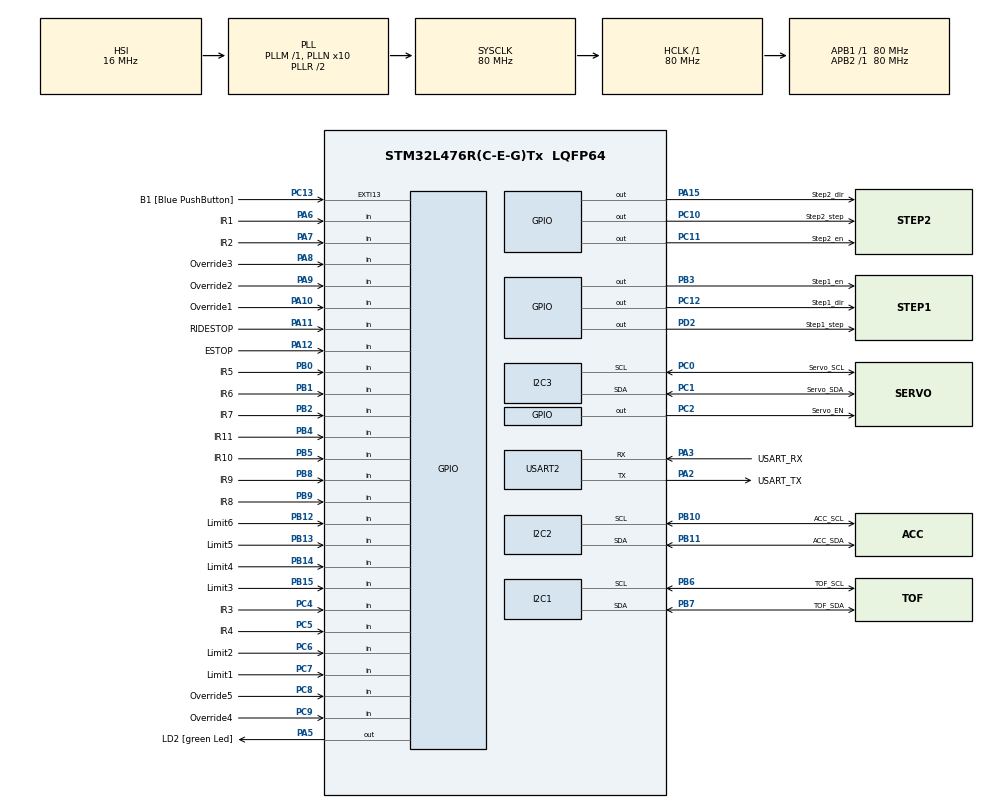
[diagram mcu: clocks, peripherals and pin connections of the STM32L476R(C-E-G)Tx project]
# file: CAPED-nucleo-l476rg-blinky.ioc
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FREERTOS.Tasks01=defaultTask,24,128,StartDefaultTask,Default,NULL,Dynamic,NULL,NULL;TowerTransition,24,128,StartTowerTransition,Default,NULL,Dynamic,NULL,NULL;QueueToTop,24,128,StartQueueToTop,Default,NULL,Dynamic,NULL,NULL;ActuationDrop,24,128,StartActuationDrop,Default,NULL,Dynamic,NULL,NULL;WaitForQueue,8,128,StartWaitForQueue,Default,NULL,Dynamic,NULL,NULL;DropTransition,8,128,StartDropTransition,Default,NULL,Dynamic,NULL,NULL
FREERTOS.configUSE_NEWLIB_REENTRANT=1
I2C1.Timing=0x10909CEC
I2C2.Timing=0x10909CEC
I2C3.Timing=0x10909CEC
Mcu.Family=STM32L4
Mcu.Name=STM32L476R(C-E-G)Tx
Mcu.Package=LQFP64
NVIC.PriorityGroup=NVIC_PRIORITYGROUP_4
NVIC.TIM6_DAC_IRQn=true\:15\:0\:false\:false\:true\:false\:false\:true\:true
NVIC.TimeBase=TIM6_DAC_IRQn
NVIC.TimeBaseIP=TIM6
PA10.GPIO_Label=Override1
PA10.Signal=GPIO_Input
PA11.GPIO_Label=RIDESTOP
PA11.Signal=GPIO_Input
PA12.GPIO_Label=ESTOP
PA12.Signal=GPIO_Input
PA13\ (JTMS-SWDIO).GPIO_Label=TMS
PA13\ (JTMS-SWDIO).Mode=Serial_Wire
PA13\ (JTMS-SWDIO).Signal=SYS_JTMS-SWDIO
PA14\ (JTCK-SWCLK).GPIO_Label=TCK
PA14\ (JTCK-SWCLK).Mode=Serial_Wire
PA14\ (JTCK-SWCLK).Signal=SYS_JTCK-SWCLK
PA15\ (JTDI).GPIO_Label=Step2_dir
PA15\ (JTDI).Signal=GPIO_Output
PA2.GPIO_Label=USART_TX
PA2.GPIO_Mode=GPIO_MODE_AF_PP
PA2.GPIO_PuPd=GPIO_NOPULL
PA2.GPIO_Speed=GPIO_SPEED_FREQ_VERY_HIGH
PA2.Mode=Asynchronous
PA2.Signal=USART2_TX
PA3.GPIO_Label=USART_RX
PA3.GPIO_Mode=GPIO_MODE_AF_PP
PA3.GPIO_PuPd=GPIO_NOPULL
PA3.GPIO_Speed=GPIO_SPEED_FREQ_VERY_HIGH
PA3.Mode=Asynchronous
PA3.Signal=USART2_RX
PA5.GPIO_Label=LD2 [green Led]
PA5.GPIO_ModeDefaultOutputPP=GPIO_MODE_OUTPUT_PP
PA5.GPIO_PuPd=GPIO_NOPULL
PA5.GPIO_Speed=GPIO_SPEED_FREQ_LOW
PA5.Signal=GPIO_Output
PA6.GPIO_Label=IR1
PA6.Signal=GPIO_Input
PA7.GPIO_Label=IR2
PA7.Signal=GPIO_Input
PA8.GPIO_Label=Override3
PA8.Signal=GPIO_Input
PA9.GPIO_Label=Override2
PA9.Signal=GPIO_Input
PB0.GPIO_Label=IR5
PB0.Signal=GPIO_Input
PB1.GPIO_Label=IR6
PB1.Signal=GPIO_Input
PB10.GPIO_Label=ACC_SCL
PB10.Mode=I2C
PB10.Signal=I2C2_SCL
PB11.GPIO_Label=ACC_SDA
PB11.Mode=I2C
PB11.Signal=I2C2_SDA
PB12.GPIO_Label=Limit6
PB12.Signal=GPIO_Input
PB13.GPIO_Label=Limit5
PB13.Signal=GPIO_Input
PB14.GPIO_Label=Limit4
PB14.Signal=GPIO_Input
PB15.GPIO_Label=Limit3
PB15.Signal=GPIO_Input
PB2.GPIO_Label=IR7
PB2.Signal=GPIO_Input
PB3\ (JTDO-TRACESWO).GPIO_Label=Step1_en
PB3\ (JTDO-TRACESWO).Signal=GPIO_Output
PB4\ (NJTRST).GPIO_Label=IR11
PB4\ (NJTRST).Signal=GPIO_Input
PB5.GPIO_Label=IR10
PB5.Signal=GPIO_Input
PB6.GPIO_Label=TOF_SCL
PB6.Mode=I2C
PB6.Signal=I2C1_SCL
PB7.GPIO_Label=TOF_SDA
PB7.Mode=I2C
PB7.Signal=I2C1_SDA
PB8.GPIO_Label=IR9
PB8.Signal=GPIO_Input
PB9.GPIO_Label=IR8
PB9.Signal=GPIO_Input
PC0.GPIO_Label=Servo_SCL
PC0.Mode=I2C
PC0.Signal=I2C3_SCL
PC1.GPIO_Label=Servo_SDA
PC1.Mode=I2C
PC1.Signal=I2C3_SDA
PC10.GPIO_Label=Step2_step
PC10.Signal=GPIO_Output
PC11.GPIO_Label=Step2_en
PC11.Signal=GPIO_Output
PC12.GPIO_Label=Step1_dir
PC12.Signal=GPIO_Output
PC13.GPIO_Label=B1 [Blue PushButton]
PC13.GPIO_ModeDefaultEXTI=GPIO_MODE_IT_FALLING
PC13.GPIO_PuPd=GPIO_NOPULL
PC13.Signal=GPXTI13
PC14-OSC32_IN\ (PC14).Mode=LSE-External-Oscillator
PC14-OSC32_IN\ (PC14).Signal=RCC_OSC32_IN
PC15-OSC32_OUT\ (PC15).Mode=LSE-External-Oscillator
PC15-OSC32_OUT\ (PC15).Signal=RCC_OSC32_OUT
PC2.GPIO_Label=Servo_EN
PC2.Signal=GPIO_Output
PC4.GPIO_Label=IR3
PC4.Signal=GPIO_Input
PC5.GPIO_Label=IR4
PC5.Signal=GPIO_Input
PC6.GPIO_Label=Limit2
PC6.Signal=GPIO_Input
PC7.GPIO_Label=Limit1
PC7.Signal=GPIO_Input
PC8.GPIO_Label=Override5
PC8.Signal=GPIO_Input
PC9.GPIO_Label=Override4
PC9.Signal=GPIO_Input
PD2.GPIO_Label=Step1_step
PD2.Signal=GPIO_Output
PH0-OSC_IN\ (PH0).Signal=RCC_OSC_IN
PH1-OSC_OUT\ (PH1).Signal=RCC_OSC_OUT
ProjectManager.HeapSize=0x200
ProjectManager.StackSize=0x400
ProjectManager.TargetToolchain=STM32CubeIDE
RCC.ADCFreq_Value=64000000
RCC.AHBFreq_Value=80000000
RCC.APB1Freq_Value=80000000
RCC.APB1TimFreq_Value=80000000
RCC.APB2Freq_Value=80000000
RCC.APB2TimFreq_Value=80000000
RCC.CortexFreq_Value=80000000
RCC.HCLKFreq_Value=80000000
RCC.HSE_VALUE=8000000
RCC.HSI_VALUE=16000000
RCC.MSI_VALUE=4000000
RCC.PLLN=10
RCC.PLLSourceVirtual=RCC_PLLSOURCE_HSI
RCC.PREFETCH_ENABLE=1
RCC.SYSCLKFreq_VALUE=80000000
RCC.SYSCLKSource=RCC_SYSCLKSOURCE_PLLCLK
RCC.USBFreq_Value=64000000
RCC.VCOOutputFreq_Value=160000000
USART2.VirtualMode-Asynchronous=VM_ASYNC
VP_FREERTOS_VS_CMSIS_V2.Mode=CMSIS_V2
VP_SYS_VS_tim6.Mode=TIM6
board=NUCLEO-L476RG

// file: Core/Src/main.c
/* USER CODE BEGIN Header */
/**
  ******************************************************************************
  * @file           : main.c
  * @brief          : Main program body
  ******************************************************************************
  * @attention
  *
  * Copyright (c) 2022 STMicroelectronics.
  * All rights reserved.
  *
  * This software is licensed under terms that can be found in the LICENSE file
  * in the root directory of this software component.
  * If no LICENSE file comes with this software, it is provided AS-IS.
  *
  ******************************************************************************
  */
/* USER CODE END Header */
#include "main.h"
#include "cmsis_os.h"

I2C_HandleTypeDef hi2c1;
I2C_HandleTypeDef hi2c2;
I2C_HandleTypeDef hi2c3;

UART_HandleTypeDef huart2;

/* Definitions for defaultTask */
osThreadId_t defaultTaskHandle;
const osThreadAttr_t defaultTask_attributes = {
  .name = "defaultTask",
  .stack_size = 128 * 4,
  .priority = (osPriority_t) osPriorityNormal,
};
/* Definitions for TowerTransition */
osThreadId_t TowerTransitionHandle;
const osThreadAttr_t TowerTransition_attributes = {
  .name = "TowerTransition",
  .stack_size = 128 * 4,
  .priority = (osPriority_t) osPriorityNormal,
};
/* Definitions for QueueToTop */
osThreadId_t QueueToTopHandle;
const osThreadAttr_t QueueToTop_attributes = {
  .name = "QueueToTop",
  .stack_size = 128 * 4,
  .priority = (osPriority_t) osPriorityNormal,
};
/* Definitions for ActuationDrop */
osThreadId_t ActuationDropHandle;
const osThreadAttr_t ActuationDrop_attributes = {
  .name = "ActuationDrop",
  .stack_size = 128 * 4,
  .priority = (osPriority_t) osPriorityNormal,
};
/* Definitions for WaitForQueue */
osThreadId_t WaitForQueueHandle;
const osThreadAttr_t WaitForQueue_attributes = {
  .name = "WaitForQueue",
  .stack_size = 128 * 4,
  .priority = (osPriority_t) osPriorityLow,
};
/* Definitions for DropTransition */
osThreadId_t DropTransitionHandle;
const osThreadAttr_t DropTransition_attributes = {
  .name = "DropTransition",
  .stack_size = 128 * 4,
  .priority = (osPriority_t) osPriorityLow,
};

void SystemClock_Config(void);
static void MX_GPIO_Init(void);
static void MX_USART2_UART_Init(void);
static void MX_I2C1_Init(void);
static void MX_I2C2_Init(void);
static void MX_I2C3_Init(void);
void StartDefaultTask(void *argument);
void StartTowerTransition(void *argument);
void StartQueueToTop(void *argument);
void StartActuationDrop(void *argument);
void StartWaitForQueue(void *argument);
void StartDropTransition(void *argument);

/* USER CODE BEGIN 0 */
void unlockCabinServo(int i){
	if(i == 1){
		//TODO move mapped servo for lift tower
	}
	else{
		//TODO move mapped servo for drop tower
	}
}

void lockCabinServo(int i){
	if(i == 1){
		//TODO move mapped servo for lift tower
	}
	else{
		//TODO move mapped servo for drop tower
	}
}
/* USER CODE END 0 */

int main(void)
{

  /* MCU Configuration--------------------------------------------------------*/

  /* Reset of all peripherals, Initializes the Flash interface and the Systick. */
  HAL_Init();

  /* Configure the system clock */
  SystemClock_Config();

  /* Initialize all configured peripherals */
  MX_GPIO_Init();
  MX_USART2_UART_Init();
  MX_I2C1_Init();
  MX_I2C2_Init();
  MX_I2C3_Init();

  /* Init scheduler */
  osKernelInitialize();

  /* Create the thread(s) */
  /* creation of defaultTask */
  defaultTaskHandle = osThreadNew(StartDefaultTask, NULL, &defaultTask_attributes);

  /* creation of TowerTransition */
  TowerTransitionHandle = osThreadNew(StartTowerTransition, NULL, &TowerTransition_attributes);

  /* creation of QueueToTop */
  QueueToTopHandle = osThreadNew(StartQueueToTop, NULL, &QueueToTop_attributes);

  /* creation of ActuationDrop */
  ActuationDropHandle = osThreadNew(StartActuationDrop, NULL, &ActuationDrop_attributes);

  /* creation of WaitForQueue */
  WaitForQueueHandle = osThreadNew(StartWaitForQueue, NULL, &WaitForQueue_attributes);

  /* creation of DropTransition */
  DropTransitionHandle = osThreadNew(StartDropTransition, NULL, &DropTransition_attributes);

  /* Start scheduler */
  osKernelStart();

  /* We should never get here as control is now taken by the scheduler */
  /* Infinite loop */
  while (1)
  {

  }
}

void SystemClock_Config(void)
{
  RCC_OscInitTypeDef RCC_OscInitStruct = {0};
  RCC_ClkInitTypeDef RCC_ClkInitStruct = {0};

  /** Configure the main internal regulator output voltage
  */
  if (HAL_PWREx_ControlVoltageScaling(PWR_REGULATOR_VOLTAGE_SCALE1) != HAL_OK)
  {
    Error_Handler();
  }
  /** Initializes the RCC Oscillators according to the specified parameters
  * in the RCC_OscInitTypeDef structure.
  */
  RCC_OscInitStruct.OscillatorType = RCC_OSCILLATORTYPE_HSI;
  RCC_OscInitStruct.HSIState = RCC_HSI_ON;
  RCC_OscInitStruct.HSICalibrationValue = RCC_HSICALIBRATION_DEFAULT;
  RCC_OscInitStruct.PLL.PLLState = RCC_PLL_ON;
  RCC_OscInitStruct.PLL.PLLSource = RCC_PLLSOURCE_HSI;
  RCC_OscInitStruct.PLL.PLLM = 1;
  RCC_OscInitStruct.PLL.PLLN = 10;
  RCC_OscInitStruct.PLL.PLLP = RCC_PLLP_DIV7;
  RCC_OscInitStruct.PLL.PLLQ = RCC_PLLQ_DIV2;
  RCC_OscInitStruct.PLL.PLLR = RCC_PLLR_DIV2;
  if (HAL_RCC_OscConfig(&RCC_OscInitStruct) != HAL_OK)
  {
    Error_Handler();
  }
  /** Initializes the CPU, AHB and APB buses clocks
  */
  RCC_ClkInitStruct.ClockType = RCC_CLOCKTYPE_HCLK|RCC_CLOCKTYPE_SYSCLK
                              |RCC_CLOCKTYPE_PCLK1|RCC_CLOCKTYPE_PCLK2;
  RCC_ClkInitStruct.SYSCLKSource = RCC_SYSCLKSOURCE_PLLCLK;
  RCC_ClkInitStruct.AHBCLKDivider = RCC_SYSCLK_DIV1;
  RCC_ClkInitStruct.APB1CLKDivider = RCC_HCLK_DIV1;
  RCC_ClkInitStruct.APB2CLKDivider = RCC_HCLK_DIV1;

  if (HAL_RCC_ClockConfig(&RCC_ClkInitStruct, FLASH_LATENCY_4) != HAL_OK)
  {
    Error_Handler();
  }
}

static void MX_I2C1_Init(void)
{

  hi2c1.Instance = I2C1;
  hi2c1.Init.Timing = 0x10909CEC;
  hi2c1.Init.OwnAddress1 = 0;
  hi2c1.Init.AddressingMode = I2C_ADDRESSINGMODE_7BIT;
  hi2c1.Init.DualAddressMode = I2C_DUALADDRESS_DISABLE;
  hi2c1.Init.OwnAddress2 = 0;
  hi2c1.Init.OwnAddress2Masks = I2C_OA2_NOMASK;
  hi2c1.Init.GeneralCallMode = I2C_GENERALCALL_DISABLE;
  hi2c1.Init.NoStretchMode = I2C_NOSTRETCH_DISABLE;
  if (HAL_I2C_Init(&hi2c1) != HAL_OK)
  {
    Error_Handler();
  }
  /** Configure Analogue filter
  */
  if (HAL_I2CEx_ConfigAnalogFilter(&hi2c1, I2C_ANALOGFILTER_ENABLE) != HAL_OK)
  {
    Error_Handler();
  }
  /** Configure Digital filter
  */
  if (HAL_I2CEx_ConfigDigitalFilter(&hi2c1, 0) != HAL_OK)
  {
    Error_Handler();
  }

}

static void MX_I2C2_Init(void)
{

  hi2c2.Instance = I2C2;
  hi2c2.Init.Timing = 0x10909CEC;
  hi2c2.Init.OwnAddress1 = 0;
  hi2c2.Init.AddressingMode = I2C_ADDRESSINGMODE_7BIT;
  hi2c2.Init.DualAddressMode = I2C_DUALADDRESS_DISABLE;
  hi2c2.Init.OwnAddress2 = 0;
  hi2c2.Init.OwnAddress2Masks = I2C_OA2_NOMASK;
  hi2c2.Init.GeneralCallMode = I2C_GENERALCALL_DISABLE;
  hi2c2.Init.NoStretchMode = I2C_NOSTRETCH_DISABLE;
  if (HAL_I2C_Init(&hi2c2) != HAL_OK)
  {
    Error_Handler();
  }
  /** Configure Analogue filter
  */
  if (HAL_I2CEx_ConfigAnalogFilter(&hi2c2, I2C_ANALOGFILTER_ENABLE) != HAL_OK)
  {
    Error_Handler();
  }
  /** Configure Digital filter
  */
  if (HAL_I2CEx_ConfigDigitalFilter(&hi2c2, 0) != HAL_OK)
  {
    Error_Handler();
  }

}

static void MX_I2C3_Init(void)
{

  hi2c3.Instance = I2C3;
  hi2c3.Init.Timing = 0x10909CEC;
  hi2c3.Init.OwnAddress1 = 0;
  hi2c3.Init.AddressingMode = I2C_ADDRESSINGMODE_7BIT;
  hi2c3.Init.DualAddressMode = I2C_DUALADDRESS_DISABLE;
  hi2c3.Init.OwnAddress2 = 0;
  hi2c3.Init.OwnAddress2Masks = I2C_OA2_NOMASK;
  hi2c3.Init.GeneralCallMode = I2C_GENERALCALL_DISABLE;
  hi2c3.Init.NoStretchMode = I2C_NOSTRETCH_DISABLE;
  if (HAL_I2C_Init(&hi2c3) != HAL_OK)
  {
    Error_Handler();
  }
  /** Configure Analogue filter
  */
  if (HAL_I2CEx_ConfigAnalogFilter(&hi2c3, I2C_ANALOGFILTER_ENABLE) != HAL_OK)
  {
    Error_Handler();
  }
  /** Configure Digital filter
  */
  if (HAL_I2CEx_ConfigDigitalFilter(&hi2c3, 0) != HAL_OK)
  {
    Error_Handler();
  }

}

static void MX_USART2_UART_Init(void)
{

  huart2.Instance = USART2;
  huart2.Init.BaudRate = 115200;
  huart2.Init.WordLength = UART_WORDLENGTH_8B;
  huart2.Init.StopBits = UART_STOPBITS_1;
  huart2.Init.Parity = UART_PARITY_NONE;
  huart2.Init.Mode = UART_MODE_TX_RX;
  huart2.Init.HwFlowCtl = UART_HWCONTROL_NONE;
  huart2.Init.OverSampling = UART_OVERSAMPLING_16;
  huart2.Init.OneBitSampling = UART_ONE_BIT_SAMPLE_DISABLE;
  huart2.AdvancedInit.AdvFeatureInit = UART_ADVFEATURE_NO_INIT;
  if (HAL_UART_Init(&huart2) != HAL_OK)
  {
    Error_Handler();
  }

}

static void MX_GPIO_Init(void)
{
  GPIO_InitTypeDef GPIO_InitStruct = {0};

  /* GPIO Ports Clock Enable */
  __HAL_RCC_GPIOC_CLK_ENABLE();
  __HAL_RCC_GPIOH_CLK_ENABLE();
  __HAL_RCC_GPIOA_CLK_ENABLE();
  __HAL_RCC_GPIOB_CLK_ENABLE();
  __HAL_RCC_GPIOD_CLK_ENABLE();

  /*Configure GPIO pin Output Level */
  HAL_GPIO_WritePin(GPIOC, Servo_EN_Pin|Step2_step_Pin|Step2_en_Pin|Step1_dir_Pin, GPIO_PIN_RESET);

  /*Configure GPIO pin Output Level */
  HAL_GPIO_WritePin(GPIOA, LD2_Pin|Step2_dir_Pin, GPIO_PIN_RESET);

  /*Configure GPIO pin Output Level */
  HAL_GPIO_WritePin(Step1_step_GPIO_Port, Step1_step_Pin, GPIO_PIN_RESET);

  /*Configure GPIO pin Output Level */
  HAL_GPIO_WritePin(Step1_en_GPIO_Port, Step1_en_Pin, GPIO_PIN_RESET);

  /*Configure GPIO pin : B1_Pin */
  GPIO_InitStruct.Pin = B1_Pin;
  GPIO_InitStruct.Mode = GPIO_MODE_IT_FALLING;
  GPIO_InitStruct.Pull = GPIO_NOPULL;
  HAL_GPIO_Init(B1_GPIO_Port, &GPIO_InitStruct);

  /*Configure GPIO pins : Servo_EN_Pin Step2_step_Pin Step2_en_Pin Step1_dir_Pin */
  GPIO_InitStruct.Pin = Servo_EN_Pin|Step2_step_Pin|Step2_en_Pin|Step1_dir_Pin;
  GPIO_InitStruct.Mode = GPIO_MODE_OUTPUT_PP;
  GPIO_InitStruct.Pull = GPIO_NOPULL;
  GPIO_InitStruct.Speed = GPIO_SPEED_FREQ_LOW;
  HAL_GPIO_Init(GPIOC, &GPIO_InitStruct);

  /*Configure GPIO pins : LD2_Pin Step2_dir_Pin */
  GPIO_InitStruct.Pin = LD2_Pin|Step2_dir_Pin;
  GPIO_InitStruct.Mode = GPIO_MODE_OUTPUT_PP;
  GPIO_InitStruct.Pull = GPIO_NOPULL;
  GPIO_InitStruct.Speed = GPIO_SPEED_FREQ_LOW;
  HAL_GPIO_Init(GPIOA, &GPIO_InitStruct);

  /*Configure GPIO pins : IR1_Pin IR2_Pin Override3_Pin Override2_Pin
                           Override1_Pin RIDESTOP_Pin ESTOP_Pin */
  GPIO_InitStruct.Pin = IR1_Pin|IR2_Pin|Override3_Pin|Override2_Pin
                          |Override1_Pin|RIDESTOP_Pin|ESTOP_Pin;
  GPIO_InitStruct.Mode = GPIO_MODE_INPUT;
  GPIO_InitStruct.Pull = GPIO_NOPULL;
  HAL_GPIO_Init(GPIOA, &GPIO_InitStruct);

  /*Configure GPIO pins : IR3_Pin IR4_Pin Limit2_Pin Limit1_Pin
                           Override5_Pin Override4_Pin */
  GPIO_InitStruct.Pin = IR3_Pin|IR4_Pin|Limit2_Pin|Limit1_Pin
                          |Override5_Pin|Override4_Pin;
  GPIO_InitStruct.Mode = GPIO_MODE_INPUT;
  GPIO_InitStruct.Pull = GPIO_NOPULL;
  HAL_GPIO_Init(GPIOC, &GPIO_InitStruct);

  /*Configure GPIO pins : IR5_Pin IR6_Pin IR7_Pin Limit6_Pin
                           Limit5_Pin Limit4_Pin Limit3_Pin IR11_Pin
                           IR10_Pin IR9_Pin IR8_Pin */
  GPIO_InitStruct.Pin = IR5_Pin|IR6_Pin|IR7_Pin|Limit6_Pin
                          |Limit5_Pin|Limit4_Pin|Limit3_Pin|IR11_Pin
                          |IR10_Pin|IR9_Pin|IR8_Pin;
  GPIO_InitStruct.Mode = GPIO_MODE_INPUT;
  GPIO_InitStruct.Pull = GPIO_NOPULL;
  HAL_GPIO_Init(GPIOB, &GPIO_InitStruct);

  /*Configure GPIO pin : Step1_step_Pin */
  GPIO_InitStruct.Pin = Step1_step_Pin;
  GPIO_InitStruct.Mode = GPIO_MODE_OUTPUT_PP;
  GPIO_InitStruct.Pull = GPIO_NOPULL;
  GPIO_InitStruct.Speed = GPIO_SPEED_FREQ_LOW;
  HAL_GPIO_Init(Step1_step_GPIO_Port, &GPIO_InitStruct);

  /*Configure GPIO pin : Step1_en_Pin */
  GPIO_InitStruct.Pin = Step1_en_Pin;
  GPIO_InitStruct.Mode = GPIO_MODE_OUTPUT_PP;
  GPIO_InitStruct.Pull = GPIO_NOPULL;
  GPIO_InitStruct.Speed = GPIO_SPEED_FREQ_LOW;
  HAL_GPIO_Init(Step1_en_GPIO_Port, &GPIO_InitStruct);

}

void StartDefaultTask(void *argument)
{
  for(;;)
  {
    osDelay(1);
  }
}

void StartTowerTransition(void *argument)
{
  /* USER CODE BEGIN StartTowerTransition */
  /* Infinite loop */
  for(;;)
  {
	  /* If:
	  	 * - The LIFT tower top IR receiver is triggered by the cabin IR emitter (IR4 - PC5) AND
	  	 * - The top LIFT tower limit switch is activated (Limit1 - PC7) AND
	  	 * - The DROP tower top IR receiver is triggered by the cabin IR emitter (IR5 - PB0) AND
	  	 * - The top DROP tower limit switches is activated (Limit2 - PC6)
	  	 */
	  	if (HAL_GPIO_ReadPin(GPIOC, GPIO_PIN_5) && HAL_GPIO_ReadPin(GPIOC, GPIO_PIN_7) && HAL_GPIO_ReadPin(GPIOB, GPIO_PIN_0) && HAL_GPIO_ReadPin(GPIOC, GPIO_PIN_6)) {
	  		// First, unlock the cabin servo holding the RV

	  		unlockCabinServo(1);

	        //TODO: I2C communication to mapped servo.

	  		// Wait a 1/2 second for the servo to unlock, then drive the stepper motor (STEPPER1_EN - PB3)
	  		osDelay(500);
	  		HAL_GPIO_WritePin(GPIOB, GPIO_PIN_3, GPIO_PIN_SET);
	  	}
  }
  /* USER CODE END StartTowerTransition */
}

void StartQueueToTop(void *argument)
{
  /* USER CODE BEGIN StartQueueToTop */
  /* Infinite loop */
  for(;;)
  {
    /*
     * Queue IR osDelay, input TOF, Cabin IR, bottom limit switch,
     * outputs of drive motors and brakes into tower, servo to lock,
     * and stepper, serial monitor
     */

	 //if something in queue
	 if(HAL_GPIO_ReadPin(GPIOC, IR1)){

		 //wait to load
		 osDelay(10000);

		 //if cabin at the bottom
		 if(HAL_GPIO_ReadPin(GPIOC, IR2) && HAL_GPIO_ReadPin(GPIOC, IR3)){
			 //TODO drive servos

			 //TODO set brakes based on TOF

			 //TODO drive lock servo
			 lockCabinServo(1);

			 // Wait a 1/2 second for the servo to unlock, then drive the stepper motor (STEPPER2_EN)
			 osDelay(500);
			 HAL_GPIO_WritePin(GPIOB, Step2_EN, GPIO_PIN_SET);
		 }

	 }

  }
  /* USER CODE END StartQueueToTop */
}

void StartActuationDrop(void *argument)
{
  /* USER CODE BEGIN StartActuationDrop */
  /* Infinite loop */
  for(;;)
  {
	 //if drop complete, and at the top, amd wait clear
    if(drop1Complete && HAL_GPIO_ReadPin(GPIOC, Limit4) && HAL_GPIO_ReadPin(GPIOC, IR11)){
    	//TODO actuation servo

    	//if actuated and still wait clear
    	if(HAL_GPIO_ReadPin(GPIOC, Limit6) && HAL_GPIO_ReadPin(GPIOC, IR11)){
    		//drop
    		HAL_GPIO_WritePin(GPIOB, Step1_EN, GPIO_PIN_SET);
    		drop1Complete = true;
    	}
    }
  }
  /* USER CODE END StartActuationDrop */
}

void StartWaitForQueue(void *argument)
{
  /* USER CODE BEGIN StartWaitForQueue */
  /* Infinite loop */
  for(;;)
  {
	  /* For the Wait For Queue Task, we need to check:
	   *  if the the pre-brake IR sensor is ON (IR8 - PB9)
	   * Then, we need to:
	   *  open the brakes ( TODO: Set Brake Servos )
	   */
	  if(HAL_GPIO_ReadPin(GPIOB, GPIO_PIN_8)){
		  // Unlock Servo that brakes/clamps onto the ride vehicle
		  HAL_GPIO_WritePin(GPIOC, GPIO_PIN_2,GPIO_PIN_SET);

	//TODO: I2C communication to mapped servo.

	  }
	  osDelay(1);
  }
  /* USER CODE END StartWaitForQueue */
}

void StartDropTransition(void *argument)
{
  /* USER CODE BEGIN StartDropTransition */
  /* Infinite loop */
  for(;;)
  {
	  /* For the Drop Transition Task, we need to check:
	   *  if the two bottom limit switches are ON (Limit5 - PB13, Limit6 - PB12)
	   *  if the IR sensor on the track is ON (IR7 - PB2)
	   *  if the actuation limit switch is ON (Limit4 - PB14)
	   * Then, we need to:
	   *  Unlock the servo motor to drop the ride vehicle to the Drop to Queue ()
	   * NOTES: when I say ON, I mean in their active position
	   */
	  if(HAL_GPIO_ReadPin(GPIOB, GPIO_PIN_13) && HAL_GPIO_ReadPin(GPIOB, GPIO_PIN_12) && HAL_GPIO_ReadPin(GPIOB, GPIO_PIN_14) && HAL_GPIO_ReadPin(GPIOB, GPIO_PIN_2)){
		  // Unlock Servo that holds in the ride vehicle
		  HAL_GPIO_WritePin(GPIOC, GPIO_PIN_2,GPIO_PIN_SET);
		  // We only close the Servo once we complete the next step

	//TODO: I2C communication to mapped servo.

	  }
	  osDelay(1);
  }
  /* USER CODE END StartDropTransition */
}

void HAL_TIM_PeriodElapsedCallback(TIM_HandleTypeDef *htim)
{
  if (htim->Instance == TIM6) {
    HAL_IncTick();
  }
}

void Error_Handler(void)
{
  __disable_irq();
  while (1)
  {
  }
}

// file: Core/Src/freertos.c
/* USER CODE BEGIN Header */
/**
  ******************************************************************************
  * File Name          : freertos.c
  * Description        : Code for freertos applications
  ******************************************************************************
  * @attention
  *
  * Copyright (c) 2022 STMicroelectronics.
  * All rights reserved.
  *
  * This software is licensed under terms that can be found in the LICENSE file
  * in the root directory of this software component.
  * If no LICENSE file comes with this software, it is provided AS-IS.
  *
  ******************************************************************************
  */
/* USER CODE END Header */

#include "FreeRTOS.h"
#include "task.h"
#include "main.h"
#include "cmsis_os.h"

/* Definitions for defaultTask */
osThreadId_t defaultTaskHandle;
const osThreadAttr_t defaultTask_attributes = {
  .name = "defaultTask",
  .stack_size = 128 * 4,
  .priority = (osPriority_t) osPriorityNormal,
};
/* Definitions for TowerTransition */
osThreadId_t TowerTransitionHandle;
const osThreadAttr_t TowerTransition_attributes = {
  .name = "TowerTransition",
  .stack_size = 128 * 4,
  .priority = (osPriority_t) osPriorityNormal,
};

void StartDefaultTask(void *argument);
extern void StartTowerTransition(void *argument);

void MX_FREERTOS_Init(void); /* (MISRA C 2004 rule 8.1) */

void MX_FREERTOS_Init(void) {

  /* Create the thread(s) */
  /* creation of defaultTask */
  defaultTaskHandle = osThreadNew(StartDefaultTask, NULL, &defaultTask_attributes);

  /* creation of TowerTransition */
  TowerTransitionHandle = osThreadNew(StartTowerTransition, NULL, &TowerTransition_attributes);

}

void StartDefaultTask(void *argument)
{
  for(;;)
  {
    osDelay(1);
  }
}
